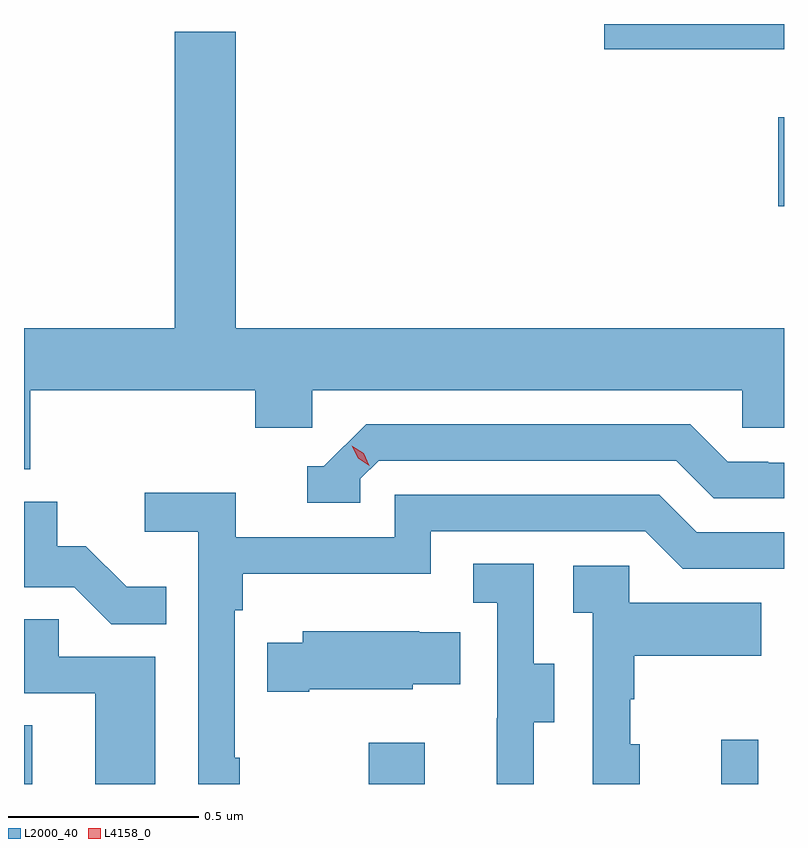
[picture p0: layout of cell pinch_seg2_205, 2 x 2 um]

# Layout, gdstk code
import gdstk
lib = gdstk.Library(unit=1e-6, precision=1e-09)
def R(c, l, rs):  # rectangles x0, y0, x1, y1
    for r in rs: c.add(gdstk.rectangle(r[:2], r[2:], *l))
def P(c, l, *ps):  # polygons
    for p in ps: c.add(gdstk.Polygon(p, *l))
L2000_40 = (2000, 40)
L4158_0 = (4158, 0)

pinch_seg2_205 = lib.new_cell('pinch_seg2_205')
R(pinch_seg2_205, L2000_40, [(957.237,662.584,957.259,662.738), (958.144,662.584,958.291,662.692), (959.072,662.584,959.169,662.701), (959.222,664.105,959.237,664.339), (958.764,664.517,959.237,664.584)])
P(pinch_seg2_205, L2000_40, [(957.254,663.62),(957.845,663.62),(957.845,663.522),(957.996,663.522),(957.996,663.62),(959.127,663.62),(959.127,663.522),(959.237,663.522),(959.237,663.784),(957.794,663.784),(957.794,664.564),(957.634,664.564),(957.634,663.784),(957.237,663.784),(957.237,663.412),(957.254,663.412)],
  [(958.122,663.387),(958.17,663.435),(958.953,663.435),(959.052,663.336),(959.237,663.336),(959.237,663.429),(959.196,663.429),(959.196,663.432),(959.089,663.432),(958.99,663.531),(958.137,663.531),(958.026,663.42),(957.983,663.42),(957.983,663.324),(958.122,663.324)],
  [(957.805,662.653),(957.792,662.653),(957.792,663.041),(957.812,663.041),(957.812,663.137),(958.308,663.137),(958.308,663.249),(958.872,663.249),(958.971,663.15),(959.237,663.15),(959.237,663.246),(959.008,663.246),(958.909,663.345),(958.212,663.345),(958.212,663.234),(957.794,663.234),(957.794,663.35),(957.555,663.35),(957.555,663.248),(957.696,663.248),(957.696,662.584),(957.805,662.584)],
  [(957.611,663.103),(957.507,663.103),(957.4,663.21),(957.324,663.21),(957.324,663.327),(957.237,663.327),(957.237,663.102),(957.369,663.102),(957.467,663.004),(957.611,663.004)],
  [(958.579,662.746),(958.633,662.746),(958.633,662.901),(958.578,662.901),(958.578,663.164),(958.419,663.164),(958.419,663.061),(958.482,663.061),(958.482,662.757),(958.481,662.757),(958.481,662.584),(958.579,662.584)],
  [(958.858,662.688),(958.833,662.688),(958.833,662.807),(958.843,662.807),(958.843,662.921),(959.177,662.921),(959.177,663.061),(958.83,663.061),(958.83,663.159),(958.683,663.159),(958.683,663.035),(958.734,663.035),(958.734,662.584),(958.858,662.584)],
  [(957.583,662.919),(957.329,662.919),(957.329,663.017),(957.237,663.017),(957.237,662.823),(957.425,662.823),(957.425,662.584),(957.583,662.584)],
  [(957.988,662.834),(958.26,662.834),(958.26,662.846),(958.385,662.846),(958.385,662.983),(958.277,662.983),(958.277,662.986),(957.971,662.986),(957.971,662.956),(957.877,662.956),(957.877,662.827),(957.988,662.827)])
P(pinch_seg2_205, L4158_0, [(958.146,663.421),(958.116,663.441),(958.1,663.474),(958.1,663.474),(958.1,663.474),(958.131,663.454),(958.146,663.422),(958.146,663.421)])

lib.write_gds('pinch_seg2_205.gds')
